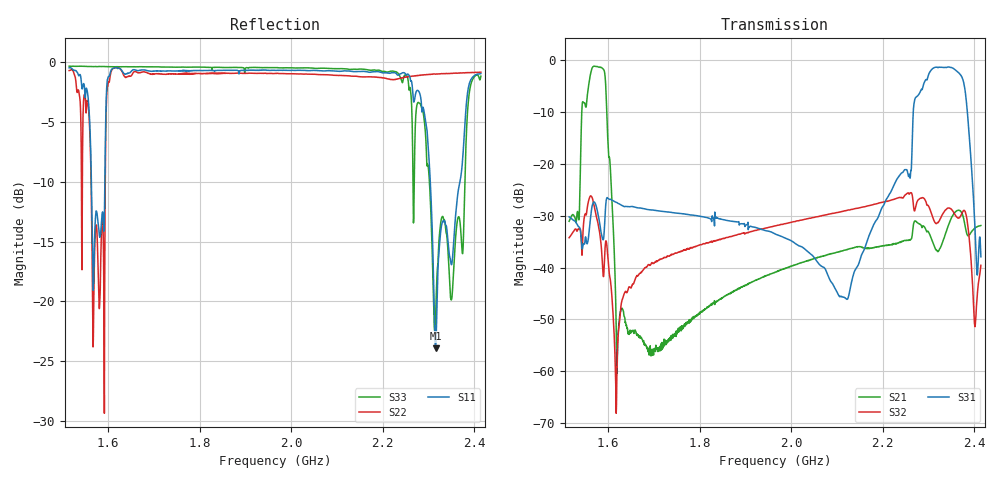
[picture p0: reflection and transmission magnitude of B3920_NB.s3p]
! Matrix data file written by TouchstoneData, EPCOS AG
! FILENAME: "newformat_LZ36B_4a_NB.s3p"
! COMMENT: "(LZ36B_4a_NB.s3p) Epcos AG 01.02.2012 13:38:"
! INFO: nport=3, nfreq=1601
! DATE: "Fri Feb  3 14:31:20 2012"
! USER: "Sergey Rostovtsev"
! port | pin | signal
!  1  |  2  |  in
!  2  |  4  |  out
!  3  |  6  |  out
# MHZ S MA R 50
! freq  magS11 angS11  magS12 angS12  magS13 angS13  ...
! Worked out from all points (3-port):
!   1601 points, 1.515 GHz to 2.415 GHz, reference 50 ohm
!   strongest paths, dB at 1.515 GHz, 1.74 GHz, 1.965 GHz, 2.19 GHz, 2.415 GHz:
!     S31: -30.3, -29.4, -33.5, -30.4, -37.9
!     S32: -34.3, -37.5, -32.0, -27.7, -39.6
!     S21: -31.1, -53.6, -41.0, -36.1, -31.9
!   lowest |S11| = -23.9 dB at 2.316 GHz (marker M1), VSWR 1.14, Z = 44.1 - j1.34 ohm
!   |S11| at or under -10 dB: 1.564 GHz to 1.593 GHz (29.54 MHz wide, 1.87 % of centre); 2.304 GHz to 2.369 GHz (64.76 MHz wide, 2.77 % of centre)
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1515  0.9444 -116.9  0.02798 155.4  0.03072 -1.4
      0.02786 155.6  0.92 -101.0  0.01918 -179.9
      0.03072 -1.3  0.01935 -179.9  0.9596 -71.5
1562.812  0.3824 175.0  0.7688 66.9  0.03283 48.9
          0.7628 67.1  0.3317 155.5  0.0484 124.5
          0.03285 49.0  0.04883 124.4  0.9568 -74.2
1580.812  0.1924 -92.9  0.8555 -60.7  0.02826 3.2
          0.8501 -60.5  0.09336 155.9  0.02276 50.2
          0.02832 3.2  0.02298 50.0  0.9572 -75.1
1621.875  0.9394 -82.5  0.002223 -155.3  0.04136 11.6
          0.002219 -155.1  0.9454 -35.0  0.002091 -165.6
          0.04145 11.4  0.002122 -166.7  0.9545 -77.4
1965  0.922 -121.7  0.009033 148.6  0.02102 -12.1
      0.00896 149.0  0.8941 -82.6  0.02492 172.7
      0.0211 -12.2  0.02512 172.4  0.9467 -99.1
2122.5  0.9165 -135.1  0.01499 137.8  0.004924 71.7
        0.0149 138.1  0.8753 -90.8  0.03529 160.9
        0.004931 71.7  0.03559 160.7  0.9343 -114.9
2269.875  0.6925 -172.2  0.02804 120.9  0.4025 138.6
          0.02793 121.2  0.8746 -94.6  0.03476 124.2
          0.4039 138.6  0.035 124.1  0.3712 -129.5
2316  0.06388 -166.3  0.0151 -24.6  0.8465 -0.3
      0.01502 -24.2  0.8881 -96.9  0.0265 116.3
      0.8484 -0.2  0.0267 116.0  0.08542 -144.0
2369.438  0.3182 -66.7  0.03559 164.5  0.7237 -161.9
          0.03532 164.7  0.9 -99.7  0.03056 110.5
          0.7266 -161.8  0.03083 110.2  0.2141 -79.1
2415  0.8941 -101.9  0.02551 156.2  0.01265 112.5
      0.02538 156.4  0.9059 -102.1  0.01041 -174.6
      0.01267 112.5  0.01049 -174.6  0.8717 -42.7
